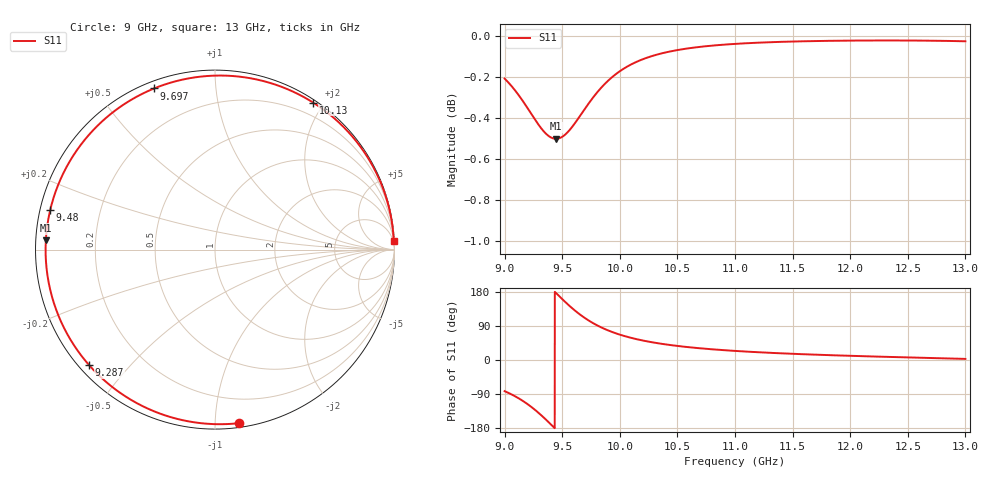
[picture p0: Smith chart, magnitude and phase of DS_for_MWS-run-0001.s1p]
! TOUCHSTONE file generated by CST DESIGN STUDIO
! Date and time: Wed Feb  5 13:20:36 2025
! Project name: C:\Work\MatlabApps\UnitCellOptimizationMatlab\CST\unitcell.cst
! Tree item: Tasks\Sweep1\SPara1\S-Parameters
! Header version: 2024
! Port assignment regex: !\s*Touchstone port\s*([0-9]+)\s*=\s*(CST MWS port|CST DES external port|CST DES block port)\s*(.+)\s* \(\"(.*)\"\)(\s*mode\s*([0-9]+))?.*
! Touchstone port assignment:
! Touchstone port 1 = CST DES external port 1 ("")
# GHz S MA R 50
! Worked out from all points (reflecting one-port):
!   4001 points, 9 GHz to 13 GHz, reference 50 ohm
!   lowest |S11| = -0.5 dB at 9.446 GHz (marker M1), VSWR 34.62, Z = 1.45 + j1.4 ohm
!   phase of S11 starts at -82 deg and turns -275 deg over the sweep
!   S11 on the Smith chart (normalised r, x): 9 GHz: 0.03, -1.15; 9.287 GHz: 0.03, -0.39; 9.48 GHz: 0.03, +0.12; 9.697 GHz: 0.03, +0.69; 10.13 GHz: 0.03, +1.87; 13 GHz: 2, +39
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9  0.9762 -82.2
9.088  0.97 -95.2
9.16  0.9638 -108.3
9.225  0.9577 -122.2
9.287  0.952 -137.5
9.332  0.9483 -149.7
9.372  0.9458 -161.1
9.409  0.9444 -172.1
9.446  0.9439 176.8
9.48  0.9443 166.6
9.5  0.9449 160.7
9.551  0.9476 146.1
9.599  0.9512 133.4
9.647  0.9553 121.7
9.697  0.9598 110.7
9.755  0.9648 99.5
9.821  0.97 88.7
9.908  0.9756 76.9
10  0.9802 66.9
10.127  0.9848 56.3
10.295  0.9889 46.0
10.5  0.9919 37.1
10.723  0.9939 30.2
11  0.9953 24.0
11.5  0.9966 16.3
12  0.9972 11.0
12.5  0.9972 6.8
13  0.9968 2.9
